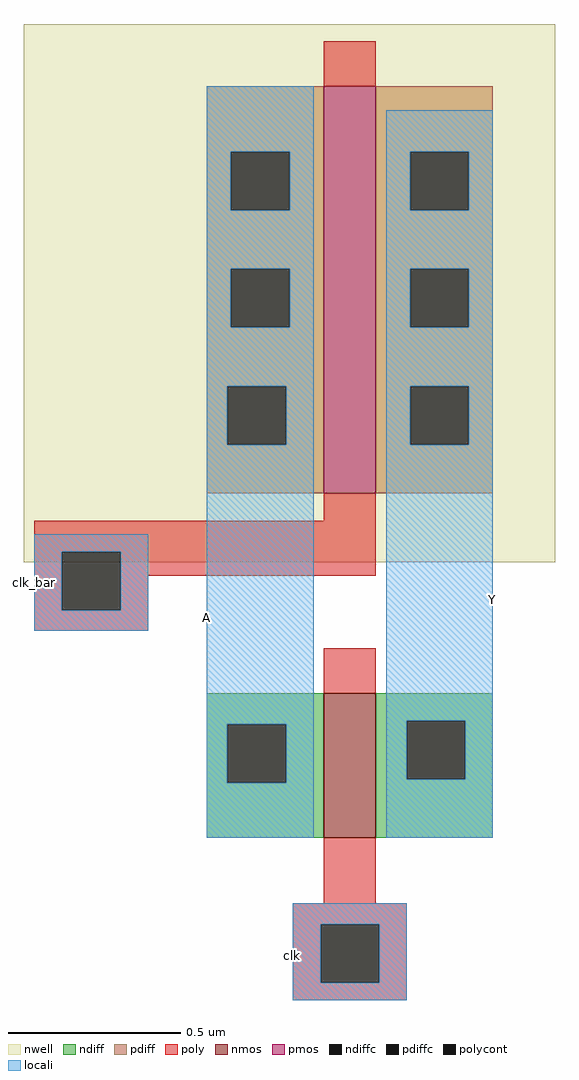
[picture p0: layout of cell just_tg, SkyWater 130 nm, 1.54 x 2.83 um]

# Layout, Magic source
magic
tech sky130A
<< nwell >>
rect -95 72 59 228
<< nmos >>
rect -8 -8 7 34
<< pmos >>
rect -8 92 7 210
<< ndiff >>
rect -42 25 -8 34
rect -42 8 -36 25
rect -19 8 -8 25
rect -42 -8 -8 8
rect 7 26 41 34
rect 7 9 16 26
rect 33 9 41 26
rect 7 -8 41 9
<< pdiff >>
rect -42 191 -8 210
rect -42 174 -35 191
rect -18 174 -8 191
rect -42 157 -8 174
rect -42 140 -35 157
rect -18 140 -8 157
rect -42 123 -8 140
rect -42 106 -36 123
rect -19 106 -8 123
rect -42 92 -8 106
rect 7 191 41 210
rect 7 174 17 191
rect 34 174 41 191
rect 7 157 41 174
rect 7 140 17 157
rect 34 140 41 157
rect 7 123 41 140
rect 7 106 17 123
rect 34 106 41 123
rect 7 92 41 106
<< ndiffc >>
rect -36 8 -19 25
rect 16 9 33 26
<< pdiffc >>
rect -35 174 -18 191
rect -35 140 -18 157
rect -36 106 -19 123
rect 17 174 34 191
rect 17 140 34 157
rect 17 106 34 123
<< poly >>
rect -8 210 7 223
rect -8 84 7 92
rect -92 75 7 84
rect -92 58 -84 75
rect -67 68 7 75
rect -67 58 -59 68
rect -92 52 -59 58
rect -8 34 7 47
rect -8 -27 7 -8
rect -17 -33 16 -27
rect -17 -50 -9 -33
rect 8 -50 16 -33
rect -17 -55 16 -50
<< polycont >>
rect -84 58 -67 75
rect -9 -50 8 -33
<< locali >>
rect -42 191 -11 210
rect -42 174 -35 191
rect -18 174 -11 191
rect -42 157 -11 174
rect -42 140 -35 157
rect -18 140 -11 157
rect -42 123 -11 140
rect -42 106 -36 123
rect -19 106 -11 123
rect -92 75 -59 80
rect -92 58 -84 75
rect -67 58 -59 75
rect -92 52 -59 58
rect -42 25 -11 106
rect -42 8 -36 25
rect -19 8 -11 25
rect -42 -8 -11 8
rect 10 191 41 203
rect 10 174 17 191
rect 34 174 41 191
rect 10 157 41 174
rect 10 140 17 157
rect 34 140 41 157
rect 10 123 41 140
rect 10 106 17 123
rect 34 106 41 123
rect 10 26 41 106
rect 10 9 16 26
rect 33 9 41 26
rect 10 -8 41 9
rect -17 -33 16 -27
rect -17 -50 -9 -33
rect 8 -50 16 -33
rect -17 -55 16 -50
<< labels >>
rlabel locali -42 56 -42 56 7 A
port 1 w
rlabel locali 41 61 41 61 3 Y
port 4 e
rlabel locali -17 -42 -17 -42 7 clk
port 2 w
rlabel locali -92 66 -92 66 7 clk_bar
port 3 w
<< end >>
